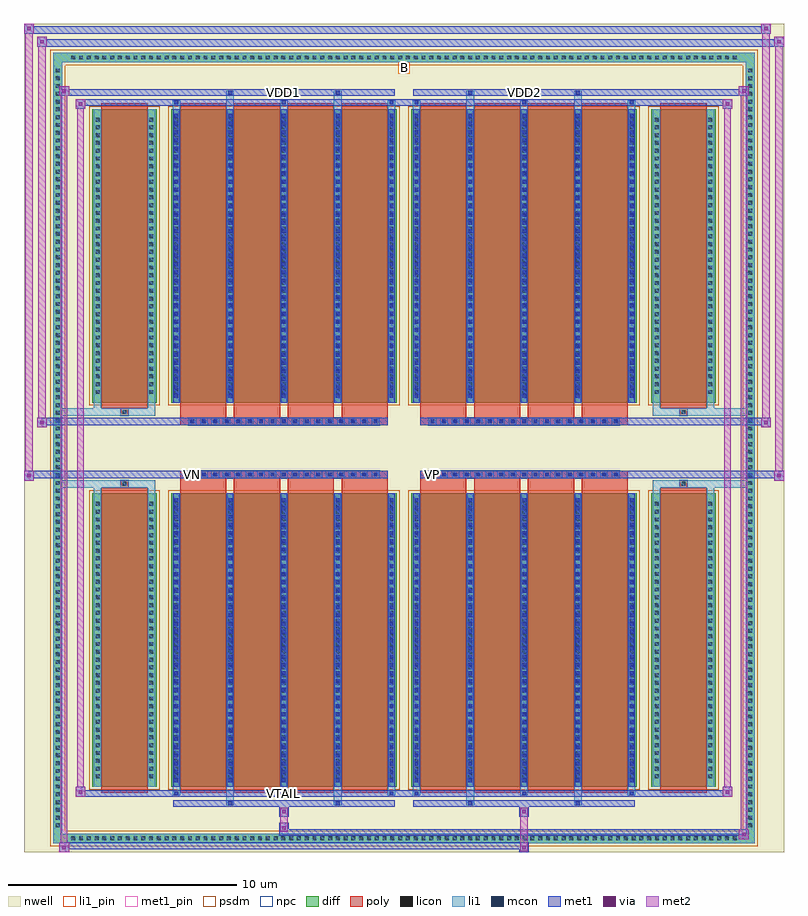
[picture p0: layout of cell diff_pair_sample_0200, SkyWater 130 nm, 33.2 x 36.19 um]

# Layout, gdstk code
import gdstk
lib = gdstk.Library(unit=1e-6, precision=5e-09)
def R(c, l, rs):  # rectangles x0, y0, x1, y1
    for r in rs: c.add(gdstk.rectangle(r[:2], r[2:], *l))
def A(c, l, x, y, w, h, nx, ny, dx, dy):  # array of equal rectangles
    R(c, l, [(x+i*dx, y+j*dy, x+i*dx+w, y+j*dy+h) for i in range(nx) for j in range(ny)])
def P(c, l, *ps):  # polygons
    for p in ps: c.add(gdstk.Polygon(p, *l))
nwell = (64, 20)
diff = (65, 20)
poly = (66, 20)
licon = (66, 44)
li1_pin = (67, 16)
li1 = (67, 20)
mcon = (67, 44)
met1_pin = (68, 16)
met1 = (68, 20)
via = (68, 44)
met2 = (69, 20)
psdm = (94, 20)
npc = (95, 20)

diff_pair_sample_0200 = lib.new_cell('diff_pair_sample_0200')
R(diff_pair_sample_0200, nwell, [(-16.6,-17.66,16.6,18.53), (-13.92,-15.85,-0.01,-0.795), (0.01,-15.85,13.92,-0.795), (-13.92,0.795,-0.01,15.85), (0.01,0.795,13.92,15.85)])
A(diff_pair_sample_0200, diff, -14.655, -17.26, 0.41, 0.41, 86, 2, 0.34, 34.11)
A(diff_pair_sample_0200, diff, -15.33, -16.695, 0.41, 0.41, 1, 98, 0, 0.34)
A(diff_pair_sample_0200, diff, 14.92, -16.695, 0.41, 0.41, 1, 98, 0, 0.34)
R(diff_pair_sample_0200, diff, [(-14.655,-17.26,14.655,-16.85), (-15.33,-16.695,-14.92,16.695), (14.92,-16.695,15.33,16.695), (-13.61,-14.805,-10.81,-1.985), (-10.17,-14.805,-0.32,-1.985), (0.32,-14.805,10.17,-1.985), (10.81,-14.805,13.61,-1.985), (-13.61,1.985,-10.81,14.805), (-10.17,1.985,-0.32,14.805), (0.32,1.985,10.17,14.805), (10.81,1.985,13.61,14.805), (-14.655,16.85,14.655,17.26)])
P(diff_pair_sample_0200, diff, [(15.33,17.26),(-15.33,17.26),(-15.33,-16.85),(-14.92,-16.85),(-14.92,16.85),(14.92,16.85),(14.92,-16.85),(-14.92,-16.85),(-15.33,-16.85),(-15.33,-17.26),(15.33,-17.26)])
A(diff_pair_sample_0200, poly, -9.78, -15.055, 2.02, 13.32, 4, 2, 2.35, 16.79)
A(diff_pair_sample_0200, poly, 0.71, -15.055, 2.02, 13.32, 4, 2, 2.35, 16.79)
A(diff_pair_sample_0200, poly, -9.78, -1.735, 2.02, 0.41, 4, 2, 2.35, 3.06)
A(diff_pair_sample_0200, poly, 0.71, -1.735, 2.02, 0.41, 4, 2, 2.35, 3.06)
A(diff_pair_sample_0200, poly, -9.41, -1.325, 0.33, 0.33, 17, 2, 0.5, 2.32)
A(diff_pair_sample_0200, poly, 1.08, -1.325, 0.33, 0.33, 17, 2, 0.5, 2.32)
R(diff_pair_sample_0200, poly, [(-13.22,-15.055,-11.2,-1.735), (11.2,-15.055,13.22,-1.735), (-12.375,-1.735,-12.045,-1.405), (-12.375,-1.735,-12.045,-1.405), (12.045,-1.735,12.375,-1.405), (12.045,-1.735,12.375,-1.405), (-9.78,-1.325,-0.71,-0.995), (0.71,-1.325,9.78,-0.995), (-9.78,0.995,-0.71,1.325), (0.71,0.995,9.78,1.325), (-12.375,1.405,-12.045,1.735), (-12.375,1.405,-12.045,1.735), (12.045,1.405,12.375,1.735), (12.045,1.405,12.375,1.735), (-13.22,1.735,-11.2,15.055), (11.2,1.735,13.22,15.055)])
A(diff_pair_sample_0200, licon, -14.535, -17.14, 0.17, 0.17, 86, 2, 0.34, 34.11)
A(diff_pair_sample_0200, licon, -15.21, -16.575, 0.17, 0.17, 1, 98, 0, 0.34)
A(diff_pair_sample_0200, licon, 15.04, -16.575, 0.17, 0.17, 1, 98, 0, 0.34)
A(diff_pair_sample_0200, licon, -13.47, -14.43, 0.17, 0.17, 1, 36, 0, 0.34)
A(diff_pair_sample_0200, licon, -11.12, -14.43, 0.17, 0.17, 1, 36, 0, 0.34)
A(diff_pair_sample_0200, licon, -10.03, -14.43, 0.17, 0.17, 5, 36, 2.35, 0.34)
A(diff_pair_sample_0200, licon, 0.46, -14.43, 0.17, 0.17, 5, 36, 2.35, 0.34)
A(diff_pair_sample_0200, licon, 10.95, -14.43, 0.17, 0.17, 1, 36, 0, 0.34)
A(diff_pair_sample_0200, licon, 13.3, -14.43, 0.17, 0.17, 1, 36, 0, 0.34)
A(diff_pair_sample_0200, licon, -9.33, -1.245, 0.17, 0.17, 17, 2, 0.5, 2.32)
A(diff_pair_sample_0200, licon, 1.16, -1.245, 0.17, 0.17, 17, 2, 0.5, 2.32)
A(diff_pair_sample_0200, licon, -13.47, 2.36, 0.17, 0.17, 1, 36, 0, 0.34)
A(diff_pair_sample_0200, licon, -11.12, 2.36, 0.17, 0.17, 1, 36, 0, 0.34)
A(diff_pair_sample_0200, licon, -10.03, 2.36, 0.17, 0.17, 5, 36, 2.35, 0.34)
A(diff_pair_sample_0200, licon, 0.46, 2.36, 0.17, 0.17, 5, 36, 2.35, 0.34)
A(diff_pair_sample_0200, licon, 10.95, 2.36, 0.17, 0.17, 1, 36, 0, 0.34)
A(diff_pair_sample_0200, licon, 13.3, 2.36, 0.17, 0.17, 1, 36, 0, 0.34)
R(diff_pair_sample_0200, licon, [(-12.295,-1.655,-12.125,-1.485), (12.125,-1.655,12.295,-1.485), (-12.295,1.485,-12.125,1.655), (12.125,1.485,12.295,1.655)])
R(diff_pair_sample_0200, li1_pin, [(-0.25,16.35,0.25,16.85)])
A(diff_pair_sample_0200, li1, -14.615, -17.22, 0.33, 0.33, 86, 2, 0.34, 34.11)
A(diff_pair_sample_0200, li1, -15.29, -16.655, 0.33, 0.33, 1, 98, 0, 0.34)
A(diff_pair_sample_0200, li1, 14.96, -16.655, 0.33, 0.33, 1, 98, 0, 0.34)
A(diff_pair_sample_0200, li1, -10.11, -15.18, 0.33, 0.375, 3, 2, 4.7, 29.985)
A(diff_pair_sample_0200, li1, -10.03, -15.18, 0.17, 0.17, 3, 2, 4.7, 30.19)
A(diff_pair_sample_0200, li1, 0.38, -15.18, 0.33, 0.375, 3, 2, 4.7, 29.985)
A(diff_pair_sample_0200, li1, 0.46, -15.18, 0.17, 0.17, 3, 2, 4.7, 30.19)
A(diff_pair_sample_0200, li1, -10.11, -14.805, 0.33, 12.82, 5, 2, 2.35, 16.79)
A(diff_pair_sample_0200, li1, 0.38, -14.805, 0.33, 12.82, 5, 2, 2.35, 16.79)
A(diff_pair_sample_0200, li1, -10.03, -14.6, 0.17, 0.17, 5, 35, 2.35, 0.36)
A(diff_pair_sample_0200, li1, -10.03, -14.6, 0.17, 12.41, 5, 2, 2.35, 16.79)
A(diff_pair_sample_0200, li1, 0.46, -14.6, 0.17, 0.17, 5, 35, 2.35, 0.36)
A(diff_pair_sample_0200, li1, 0.46, -14.6, 0.17, 12.41, 5, 2, 2.35, 16.79)
A(diff_pair_sample_0200, li1, -13.55, -14.51, 0.33, 0.33, 1, 36, 0, 0.34)
A(diff_pair_sample_0200, li1, -11.2, -14.51, 0.33, 0.33, 1, 36, 0, 0.34)
A(diff_pair_sample_0200, li1, -10.11, -14.51, 0.33, 0.33, 5, 36, 2.35, 0.34)
A(diff_pair_sample_0200, li1, 0.38, -14.51, 0.33, 0.33, 5, 36, 2.35, 0.34)
A(diff_pair_sample_0200, li1, 10.87, -14.51, 0.33, 0.33, 1, 36, 0, 0.34)
A(diff_pair_sample_0200, li1, 13.22, -14.51, 0.33, 0.33, 1, 36, 0, 0.34)
A(diff_pair_sample_0200, li1, -9.41, -1.325, 0.33, 0.33, 17, 2, 0.5, 2.32)
A(diff_pair_sample_0200, li1, 1.08, -1.325, 0.33, 0.33, 17, 2, 0.5, 2.32)
A(diff_pair_sample_0200, li1, -10.03, 2.19, 0.17, 0.17, 5, 35, 2.35, 0.36)
A(diff_pair_sample_0200, li1, 0.46, 2.19, 0.17, 0.17, 5, 35, 2.35, 0.36)
A(diff_pair_sample_0200, li1, -13.55, 2.28, 0.33, 0.33, 1, 36, 0, 0.34)
A(diff_pair_sample_0200, li1, -11.2, 2.28, 0.33, 0.33, 1, 36, 0, 0.34)
A(diff_pair_sample_0200, li1, -10.11, 2.28, 0.33, 0.33, 5, 36, 2.35, 0.34)
A(diff_pair_sample_0200, li1, 0.38, 2.28, 0.33, 0.33, 5, 36, 2.35, 0.34)
A(diff_pair_sample_0200, li1, 10.87, 2.28, 0.33, 0.33, 1, 36, 0, 0.34)
A(diff_pair_sample_0200, li1, 13.22, 2.28, 0.33, 0.33, 1, 36, 0, 0.34)
R(diff_pair_sample_0200, li1, [(-15.33,-17.26,-14.92,-16.85), (-15.33,-17.26,-14.92,-16.85), (-14.92,-17.26,14.92,-16.85), (14.92,-17.26,15.33,-16.85), (14.92,-17.26,15.33,-16.85), (-15.33,-16.85,-14.92,16.85), (14.92,-16.85,15.33,16.85), (-7.76,-15.61,-7.43,-14.805), (-7.68,-15.61,-7.51,-15.44), (-3.06,-15.61,-2.73,-14.805), (-2.98,-15.61,-2.81,-15.44), (2.73,-15.61,3.06,-14.805), (2.81,-15.61,2.98,-15.44), (7.43,-15.61,7.76,-14.805), (7.51,-15.61,7.68,-15.44), (-13.55,-14.805,-13.22,-1.985), (-11.2,-14.805,-10.87,-1.985), (10.87,-14.805,11.2,-1.985), (13.22,-14.805,13.55,-1.985), (-13.55,-1.985,-13.22,-1.405), (-11.2,-1.985,-10.87,-1.405), (10.87,-1.985,11.2,-1.405), (13.22,-1.985,13.55,-1.405), (-15.33,-1.735,-12.375,-1.405), (-13.55,-1.735,-12.375,-1.405), (-12.375,-1.735,-12.045,-1.405), (-12.045,-1.735,-10.87,-1.405), (10.87,-1.735,12.045,-1.405), (12.045,-1.735,12.375,-1.405), (12.045,-1.735,15.33,-1.405), (12.375,-1.735,13.55,-1.405), (-15.33,1.405,-12.375,1.735), (-13.55,1.405,-12.375,1.735), (-13.55,1.405,-13.22,1.985), (-12.375,1.405,-12.045,1.735), (-12.045,1.405,-10.87,1.735), (-11.2,1.405,-10.87,1.985), (10.87,1.405,12.045,1.735), (10.87,1.405,11.2,1.985), (12.045,1.405,12.375,1.735), (12.045,1.405,15.33,1.735), (12.375,1.405,13.55,1.735), (13.22,1.405,13.55,1.985), (-13.55,1.985,-13.22,14.805), (-11.2,1.985,-10.87,14.805), (10.87,1.985,11.2,14.805), (13.22,1.985,13.55,14.805), (-7.76,14.805,-7.43,15.61), (-3.06,14.805,-2.73,15.61), (2.73,14.805,3.06,15.61), (7.43,14.805,7.76,15.61), (-7.68,15.44,-7.51,15.61), (-2.98,15.44,-2.81,15.61), (2.81,15.44,2.98,15.61), (7.51,15.44,7.68,15.61), (-15.33,16.85,-14.92,17.26), (-15.33,16.85,-14.92,17.26), (-14.92,16.85,14.92,17.26), (14.92,16.85,15.33,17.26), (14.92,16.85,15.33,17.26)])
A(diff_pair_sample_0200, mcon, -10.03, -15.18, 0.17, 0.17, 3, 2, 4.7, 30.19)
A(diff_pair_sample_0200, mcon, 0.46, -15.18, 0.17, 0.17, 3, 2, 4.7, 30.19)
A(diff_pair_sample_0200, mcon, -10.03, -14.6, 0.17, 0.17, 5, 35, 2.35, 0.36)
A(diff_pair_sample_0200, mcon, 0.46, -14.6, 0.17, 0.17, 5, 35, 2.35, 0.36)
A(diff_pair_sample_0200, mcon, -9.33, -1.245, 0.17, 0.17, 17, 2, 0.5, 2.32)
A(diff_pair_sample_0200, mcon, 1.16, -1.245, 0.17, 0.17, 17, 2, 0.5, 2.32)
A(diff_pair_sample_0200, mcon, -10.03, 2.19, 0.17, 0.17, 5, 35, 2.35, 0.36)
A(diff_pair_sample_0200, mcon, 0.46, 2.19, 0.17, 0.17, 5, 35, 2.35, 0.36)
R(diff_pair_sample_0200, mcon, [(-7.68,-15.61,-7.51,-15.44), (-2.98,-15.61,-2.81,-15.44), (2.81,-15.61,2.98,-15.44), (7.51,-15.61,7.68,-15.44), (-7.68,15.44,-7.51,15.61), (-2.98,15.44,-2.81,15.61), (2.81,15.44,2.98,15.61), (7.51,15.44,7.68,15.61)])
R(diff_pair_sample_0200, met1_pin, [(-5.38,-15.22,-5.11,-14.95), (-9.38,-1.285,-9.11,-1.015), (1.11,-1.285,1.38,-1.015), (-5.38,15.4,-5.11,15.67), (5.11,15.4,5.38,15.67)])
A(diff_pair_sample_0200, met1, -10.09, -15.24, 0.29, 0.29, 3, 2, 4.7, 30.19)
A(diff_pair_sample_0200, met1, 0.4, -15.24, 0.29, 0.29, 3, 2, 4.7, 30.19)
A(diff_pair_sample_0200, met1, -10.09, -14.805, 0.29, 12.82, 5, 2, 2.35, 16.79)
A(diff_pair_sample_0200, met1, 0.4, -14.805, 0.29, 12.82, 5, 2, 2.35, 16.79)
A(diff_pair_sample_0200, met1, -10.09, -14.66, 0.29, 0.29, 5, 35, 2.35, 0.36)
A(diff_pair_sample_0200, met1, 0.4, -14.66, 0.29, 0.29, 5, 35, 2.35, 0.36)
A(diff_pair_sample_0200, met1, -9.39, -1.305, 0.29, 0.29, 17, 2, 0.5, 2.32)
A(diff_pair_sample_0200, met1, 1.1, -1.305, 0.29, 0.29, 17, 2, 0.5, 2.32)
A(diff_pair_sample_0200, met1, -10.09, 2.13, 0.29, 0.29, 5, 35, 2.35, 0.36)
A(diff_pair_sample_0200, met1, 0.4, 2.13, 0.29, 0.29, 5, 35, 2.35, 0.36)
R(diff_pair_sample_0200, met1, [(-15.06,-17.66,-14.63,-17.23), (5.03,-17.66,5.46,-17.23), (-15.06,-17.52,5.46,-17.23), (14.63,-17.09,15.06,-16.66), (-5.46,-16.95,15.06,-16.66), (-5.46,-16.81,-5.03,-16.38), (-5.46,-16.1,-5.03,-15.67), (5.03,-16.1,5.46,-15.67), (-10.09,-15.67,-0.4,-15.38), (-7.74,-15.67,-7.45,-15.38), (-3.04,-15.67,-2.75,-15.38), (0.4,-15.67,10.09,-15.38), (2.75,-15.67,3.04,-15.38), (7.45,-15.67,7.74,-15.38), (-14.35,-15.24,-13.92,-14.81), (-14.35,-15.24,-10.09,-14.95), (-10.09,-15.24,-0.4,-14.95), (-0.4,-15.24,0.4,-14.95), (0.4,-15.24,10.09,-14.95), (10.09,-15.24,14.35,-14.95), (13.92,-15.24,14.35,-14.81), (-16.6,-1.425,-16.17,-0.995), (16.17,-1.425,16.6,-0.995), (-16.6,-1.325,-0.71,-0.995), (-9.78,-1.325,-0.71,-0.995), (0.71,-1.325,9.78,-0.995), (0.71,-1.325,16.6,-0.995), (-16.03,0.895,-15.6,1.325), (15.6,0.895,16.03,1.325), (-16.03,0.995,-9.78,1.325), (-9.78,0.995,-0.71,1.325), (0.71,0.995,9.78,1.325), (9.78,0.995,16.03,1.325), (-14.35,14.81,-13.92,15.24), (13.92,14.81,14.35,15.24), (-14.35,14.95,-10.09,15.24), (-10.09,14.95,-0.4,15.24), (-0.4,14.95,0.4,15.24), (0.4,14.95,10.09,15.24), (10.09,14.95,14.35,15.24), (-15.06,15.38,-14.63,15.81), (-15.06,15.38,-10.09,15.67), (-10.09,15.38,-0.4,15.67), (-7.74,15.38,-7.45,15.67), (-3.04,15.38,-2.75,15.67), (0.4,15.38,10.09,15.67), (2.75,15.38,3.04,15.67), (7.45,15.38,7.74,15.67), (10.09,15.38,15.06,15.67), (14.63,15.38,15.06,15.81), (-16.03,17.53,-15.6,17.96), (-16.03,17.53,-13.92,17.86), (-13.92,17.53,13.92,17.86), (13.92,17.53,16.6,17.86), (16.17,17.53,16.6,17.96), (-16.6,18.1,-16.17,18.53), (-16.6,18.1,-13.92,18.43), (-13.92,18.1,13.92,18.43), (13.92,18.1,16.03,18.43), (15.6,18.1,16.03,18.53)])
R(diff_pair_sample_0200, via, [(-14.92,-17.52,-14.77,-17.37), (5.17,-17.52,5.32,-17.37), (14.77,-16.95,14.92,-16.8), (-5.32,-16.67,-5.17,-16.52), (-5.32,-15.96,-5.17,-15.81), (5.17,-15.96,5.32,-15.81), (-14.21,-15.1,-14.06,-14.95), (14.06,-15.1,14.21,-14.95), (-16.46,-1.285,-16.31,-1.135), (16.31,-1.285,16.46,-1.135), (-15.89,1.035,-15.74,1.185), (15.74,1.035,15.89,1.185), (-14.21,14.95,-14.06,15.1), (14.06,14.95,14.21,15.1), (-14.92,15.52,-14.77,15.67), (14.77,15.52,14.92,15.67), (-15.89,17.67,-15.74,17.82), (16.31,17.67,16.46,17.82), (-16.46,18.24,-16.31,18.39), (15.74,18.24,15.89,18.39)])
R(diff_pair_sample_0200, met2, [(-15.06,-17.66,-14.63,-17.23), (-14.99,-17.66,-14.7,15.81), (-14.7,-17.66,-14.63,-17.23), (-15.01,-17.61,-14.68,-17.28), (5.08,-17.61,5.41,-17.28), (5.08,-17.28,5.41,-16.05), (14.63,-17.09,15.06,-16.66), (14.7,-17.09,14.99,15.81), (14.99,-17.09,15.06,-16.66), (14.68,-17.04,15.01,-16.71), (-5.41,-16.76,-5.08,-16.43), (-5.41,-16.43,-5.08,-16.05), (-5.41,-16.05,-5.08,-15.72), (5.08,-16.05,5.41,-15.72), (-14.35,-15.24,-13.92,-14.81), (-14.28,-15.24,-13.99,15.24), (-13.99,-15.24,-13.92,-14.81), (13.92,-15.24,14.35,-14.81), (13.99,-15.24,14.28,15.24), (14.28,-15.24,14.35,-14.81), (-14.3,-15.19,-13.97,-14.86), (13.97,-15.19,14.3,-14.86), (-16.6,-1.425,-16.17,-0.995), (-16.55,-1.425,-16.22,18.53), (-16.22,-1.425,-16.17,-0.995), (16.17,-1.425,16.6,-0.995), (16.22,-1.425,16.55,17.96), (16.55,-1.425,16.6,-0.995), (-16.55,-1.375,-16.22,-1.045), (16.22,-1.375,16.55,-1.045), (-16.03,0.895,-15.6,1.325), (-15.98,0.895,-15.65,17.96), (-15.65,0.895,-15.6,1.325), (15.6,0.895,16.03,1.325), (15.65,0.895,15.98,18.53), (15.98,0.895,16.03,1.325), (-15.98,0.945,-15.65,1.275), (15.65,0.945,15.98,1.275), (-14.35,14.81,-13.92,15.24), (-13.99,14.81,-13.92,15.24), (13.92,14.81,14.35,15.24), (14.28,14.81,14.35,15.24), (-14.3,14.86,-13.97,15.19), (13.97,14.86,14.3,15.19), (-15.06,15.38,-14.63,15.81), (-14.7,15.38,-14.63,15.81), (14.63,15.38,15.06,15.81), (14.99,15.38,15.06,15.81), (-15.01,15.43,-14.68,15.76), (14.68,15.43,15.01,15.76), (-16.03,17.53,-15.6,17.96), (-15.65,17.53,-15.6,17.96), (16.17,17.53,16.6,17.96), (16.55,17.53,16.6,17.96), (-15.98,17.58,-15.65,17.91), (16.22,17.58,16.55,17.91), (-16.6,18.1,-16.17,18.53), (-16.22,18.1,-16.17,18.53), (15.6,18.1,16.03,18.53), (15.98,18.1,16.03,18.53), (-16.55,18.15,-16.22,18.48), (15.65,18.15,15.98,18.48)])
R(diff_pair_sample_0200, psdm, [(-13.74,-14.935,-10.68,-1.855), (-10.3,-14.935,-0.19,-1.855), (0.19,-14.935,10.3,-1.855), (10.68,-14.935,13.74,-1.855), (-13.74,1.855,-10.68,14.935), (-10.3,1.855,-0.19,14.935), (0.19,1.855,10.3,14.935), (10.68,1.855,13.74,14.935)])
P(diff_pair_sample_0200, psdm, [(15.46,17.39),(-15.46,17.39),(-15.46,-16.72),(-14.79,-16.72),(-14.79,16.72),(14.79,16.72),(14.79,-16.72),(-14.79,-16.72),(-15.46,-16.72),(-15.46,-17.39),(15.46,-17.39)])
A(diff_pair_sample_0200, npc, -9.43, -1.345, 0.37, 0.37, 17, 2, 0.5, 2.32)
A(diff_pair_sample_0200, npc, 1.06, -1.345, 0.37, 0.37, 17, 2, 0.5, 2.32)
R(diff_pair_sample_0200, npc, [(-12.395,-1.755,-12.025,-1.385), (12.025,-1.755,12.395,-1.385), (-9.43,-1.345,-8.56,-0.975), (-9.43,-1.345,-8.56,-0.975), (-8.93,-1.345,-8.06,-0.975), (-8.93,-1.345,-8.06,-0.975), (-8.43,-1.345,-7.56,-0.975), (-8.43,-1.345,-7.56,-0.975), (-7.93,-1.345,-7.06,-0.975), (-7.93,-1.345,-7.06,-0.975), (-7.43,-1.345,-6.56,-0.975), (-7.43,-1.345,-6.56,-0.975), (-6.93,-1.345,-6.06,-0.975), (-6.93,-1.345,-6.06,-0.975), (-6.43,-1.345,-5.56,-0.975), (-6.43,-1.345,-5.56,-0.975), (-5.93,-1.345,-5.06,-0.975), (-5.93,-1.345,-5.06,-0.975), (-5.43,-1.345,-4.56,-0.975), (-5.43,-1.345,-4.56,-0.975), (-4.93,-1.345,-4.06,-0.975), (-4.93,-1.345,-4.06,-0.975), (-4.43,-1.345,-3.56,-0.975), (-4.43,-1.345,-3.56,-0.975), (-3.93,-1.345,-3.06,-0.975), (-3.93,-1.345,-3.06,-0.975), (-3.43,-1.345,-2.56,-0.975), (-3.43,-1.345,-2.56,-0.975), (-2.93,-1.345,-2.06,-0.975), (-2.93,-1.345,-2.06,-0.975), (-2.43,-1.345,-1.56,-0.975), (-2.43,-1.345,-1.56,-0.975), (-1.93,-1.345,-1.06,-0.975), (-1.93,-1.345,-1.06,-0.975), (1.06,-1.345,1.93,-0.975), (1.06,-1.345,1.93,-0.975), (1.56,-1.345,2.43,-0.975), (1.56,-1.345,2.43,-0.975), (2.06,-1.345,2.93,-0.975), (2.06,-1.345,2.93,-0.975), (2.56,-1.345,3.43,-0.975), (2.56,-1.345,3.43,-0.975), (3.06,-1.345,3.93,-0.975), (3.06,-1.345,3.93,-0.975), (3.56,-1.345,4.43,-0.975), (3.56,-1.345,4.43,-0.975), (4.06,-1.345,4.93,-0.975), (4.06,-1.345,4.93,-0.975), (4.56,-1.345,5.43,-0.975), (4.56,-1.345,5.43,-0.975), (5.06,-1.345,5.93,-0.975), (5.06,-1.345,5.93,-0.975), (5.56,-1.345,6.43,-0.975), (5.56,-1.345,6.43,-0.975), (6.06,-1.345,6.93,-0.975), (6.06,-1.345,6.93,-0.975), (6.56,-1.345,7.43,-0.975), (6.56,-1.345,7.43,-0.975), (7.06,-1.345,7.93,-0.975), (7.06,-1.345,7.93,-0.975), (7.56,-1.345,8.43,-0.975), (7.56,-1.345,8.43,-0.975), (8.06,-1.345,8.93,-0.975), (8.06,-1.345,8.93,-0.975), (8.56,-1.345,9.43,-0.975), (8.56,-1.345,9.43,-0.975), (-9.43,0.975,-8.56,1.345), (-9.43,0.975,-8.56,1.345), (-8.93,0.975,-8.06,1.345), (-8.93,0.975,-8.06,1.345), (-8.43,0.975,-7.56,1.345), (-8.43,0.975,-7.56,1.345), (-7.93,0.975,-7.06,1.345), (-7.93,0.975,-7.06,1.345), (-7.43,0.975,-6.56,1.345), (-7.43,0.975,-6.56,1.345), (-6.93,0.975,-6.06,1.345), (-6.93,0.975,-6.06,1.345), (-6.43,0.975,-5.56,1.345), (-6.43,0.975,-5.56,1.345), (-5.93,0.975,-5.06,1.345), (-5.93,0.975,-5.06,1.345), (-5.43,0.975,-4.56,1.345), (-5.43,0.975,-4.56,1.345), (-4.93,0.975,-4.06,1.345), (-4.93,0.975,-4.06,1.345), (-4.43,0.975,-3.56,1.345), (-4.43,0.975,-3.56,1.345), (-3.93,0.975,-3.06,1.345), (-3.93,0.975,-3.06,1.345), (-3.43,0.975,-2.56,1.345), (-3.43,0.975,-2.56,1.345), (-2.93,0.975,-2.06,1.345), (-2.93,0.975,-2.06,1.345), (-2.43,0.975,-1.56,1.345), (-2.43,0.975,-1.56,1.345), (-1.93,0.975,-1.06,1.345), (-1.93,0.975,-1.06,1.345), (1.06,0.975,1.93,1.345), (1.06,0.975,1.93,1.345), (1.56,0.975,2.43,1.345), (1.56,0.975,2.43,1.345), (2.06,0.975,2.93,1.345), (2.06,0.975,2.93,1.345), (2.56,0.975,3.43,1.345), (2.56,0.975,3.43,1.345), (3.06,0.975,3.93,1.345), (3.06,0.975,3.93,1.345), (3.56,0.975,4.43,1.345), (3.56,0.975,4.43,1.345), (4.06,0.975,4.93,1.345), (4.06,0.975,4.93,1.345), (4.56,0.975,5.43,1.345), (4.56,0.975,5.43,1.345), (5.06,0.975,5.93,1.345), (5.06,0.975,5.93,1.345), (5.56,0.975,6.43,1.345), (5.56,0.975,6.43,1.345), (6.06,0.975,6.93,1.345), (6.06,0.975,6.93,1.345), (6.56,0.975,7.43,1.345), (6.56,0.975,7.43,1.345), (7.06,0.975,7.93,1.345), (7.06,0.975,7.93,1.345), (7.56,0.975,8.43,1.345), (7.56,0.975,8.43,1.345), (8.06,0.975,8.93,1.345), (8.06,0.975,8.93,1.345), (8.56,0.975,9.43,1.345), (8.56,0.975,9.43,1.345), (-12.395,1.385,-12.025,1.755), (12.025,1.385,12.395,1.755)])
diff_pair_sample_0200.add(gdstk.Label('VTAIL', (-5.245,-15.085), layer=68, texttype=5))
diff_pair_sample_0200.add(gdstk.Label('VN', (-9.245,-1.15), layer=68, texttype=5))
diff_pair_sample_0200.add(gdstk.Label('VP', (1.245,-1.15), layer=68, texttype=5))
diff_pair_sample_0200.add(gdstk.Label('B', (0,16.6), layer=67, texttype=5))
diff_pair_sample_0200.add(gdstk.Label('VDD2', (5.245,15.535), layer=68, texttype=5))
diff_pair_sample_0200.add(gdstk.Label('VDD1', (-5.245,15.535), layer=68, texttype=5))

lib.write_gds('diff_pair_sample_0200.gds')
